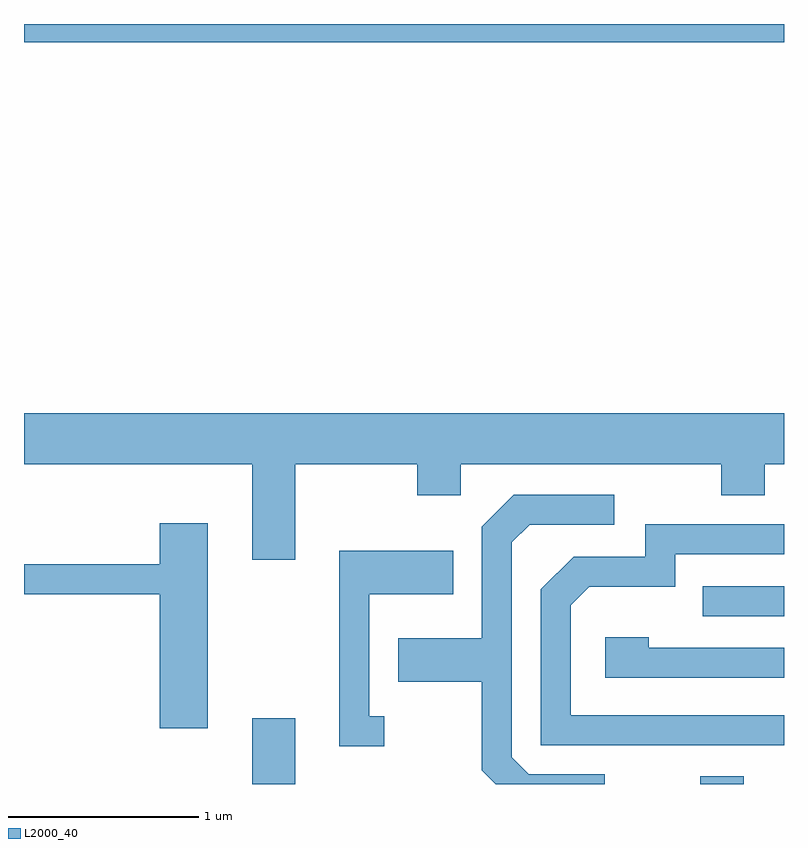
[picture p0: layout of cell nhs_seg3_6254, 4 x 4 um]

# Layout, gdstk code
import gdstk
lib = gdstk.Library(unit=1e-6, precision=1e-09)
def R(c, l, rs):  # rectangles x0, y0, x1, y1
    for r in rs: c.add(gdstk.rectangle(r[:2], r[2:], *l))
def P(c, l, *ps):  # polygons
    for p in ps: c.add(gdstk.Polygon(p, *l))
L2000_40 = (2000, 40)

nhs_seg3_6254 = lib.new_cell('nhs_seg3_6254')
R(nhs_seg3_6254, L2000_40, [(370.811,1119.892,371.039,1120.239), (373.171,1119.892,373.399,1119.934), (373.183,1120.776,373.611,1120.934), (369.611,1123.796,373.611,1123.892)])
P(nhs_seg3_6254, L2000_40, [(371.039,1121.576),(371.681,1121.576),(371.681,1121.411),(371.909,1121.411),(371.909,1121.576),(373.281,1121.576),(373.281,1121.411),(373.509,1121.411),(373.509,1121.576),(373.611,1121.576),(373.611,1121.844),(369.611,1121.844),(369.611,1121.576),(370.811,1121.576),(370.811,1121.071),(371.039,1121.071)],
  [(372.668,1119.944),(372.267,1119.944),(372.179,1120.032),(372.179,1121.164),(372.272,1121.256),(372.718,1121.256),(372.718,1121.414),(372.189,1121.414),(372.021,1121.247),(372.021,1120.659),(371.581,1120.659),(371.581,1120.431),(372.021,1120.431),(372.021,1119.964),(372.093,1119.892),(372.668,1119.892)],
  [(370.579,1121.264),(370.326,1121.264),(370.326,1121.049),(369.611,1121.049),(369.611,1120.891),(370.326,1120.891),(370.326,1120.186),(370.579,1120.186)],
  [(373.611,1120.254),(372.489,1120.254),(372.489,1120.834),(372.587,1120.931),(373.039,1120.931),(373.039,1121.101),(373.611,1121.101),(373.611,1121.259),(372.881,1121.259),(372.881,1121.089),(372.504,1121.089),(372.331,1120.917),(372.331,1120.096),(373.611,1120.096)],
  [(371.508,1120.249),(371.429,1120.249),(371.429,1120.891),(371.869,1120.891),(371.869,1121.119),(371.271,1121.119),(371.271,1120.091),(371.508,1120.091)],
  [(373.611,1120.609),(372.899,1120.609),(372.899,1120.664),(372.671,1120.664),(372.671,1120.451),(373.611,1120.451)])

lib.write_gds('nhs_seg3_6254.gds')
